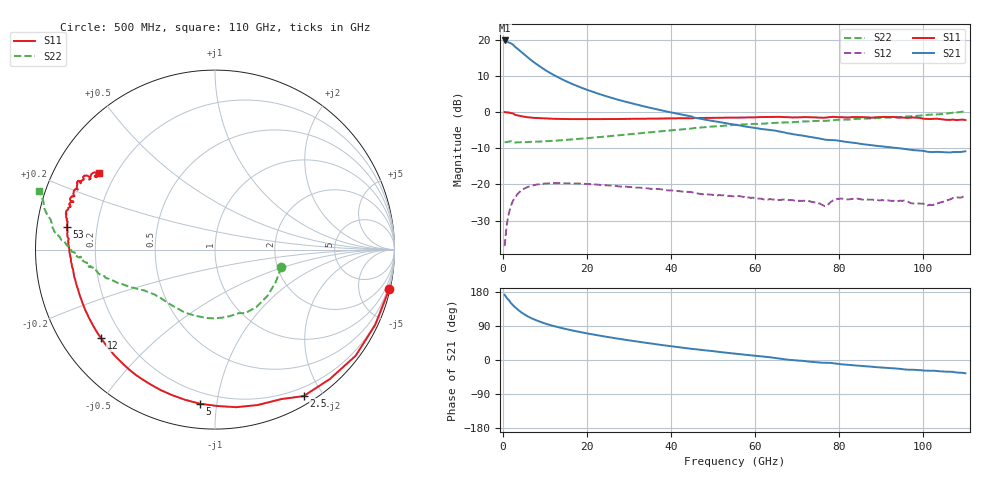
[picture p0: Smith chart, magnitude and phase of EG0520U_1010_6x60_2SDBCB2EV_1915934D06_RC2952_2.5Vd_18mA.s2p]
!File name = EG0520U_1010_6x60_2SDBCB2EV_1915934D06_RC2952_2.5Vd_18mA.s2p
!Base file name = EG0520U_1010_6x60_2SDBCB2EV_1915934D06_RC2952
!Date = 8/23/2019
!Time = 1:13 PM
!Test duration(min) = 0.15
!Test = S-Parameters
!MPTS version = 8.91.5
!State File = C:\Data\PNA\20190821205423\S-Parameters_2019-08-23.sta
!Cal File =
!ComputerName = CMPE-LAB-6
!Comments =
!Attenuation = 0
!Z0 = 50
!Input Power(dBm) = -13.00
!Device ID = EG0520U_1010_6x60_2SDBCB2EV
!Row = 29
!Column = 52
!Technology = QPHT09
!Lot/Wafer = 1915934D06
!Gate Size = 360
!Mask = EG0520
!Cal Standards = GaAs BCB
!Cal Kit = EG2306
!Job Number = 20190821205423
!Device Type = FET
!set_Vg(v) = -1.500
!set_Vd(v) = 2.500
!set_Vd(mA) = 18.000
!file_name = EG0520U_1010_6x60_2SDBCB2EV_1915934D06_RC2952_2.5Vd_18mA.s2p
!Vd(V) = 2.500
!Vd(mA) = 17.938
!Vg(V) = -0.592
!Vg(mA) = -0.002
# GHz  S  DB  R  50
!%	Freq(GHz)  s11(dB)  s11(deg)  s21(dB)  s21(deg)  s12(dB)  s12(deg)  s22(dB)  s22(deg)
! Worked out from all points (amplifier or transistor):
!   220 points, 500 MHz to 110 GHz, reference 50 ohm
!   highest |S21| = 19.8 dB at 500 MHz (marker M1)
!   |S21| within 3 dB of that: start of sweep to 4.273 GHz
!   unconditionally stable (mu >= 1): 38.78 GHz to 102.9 GHz
!   at 18.5 GHz: K = 0.46, MSG = 13.3 dB, |S12| = -19.8 dB
!   at 55.5 GHz: K = 1.32, MAG = 6.5 dB, |S12| = -23.2 dB
!   at 110 GHz: K = -1.43, MSG = 6.2 dB, |S12| = -23.2 dB
!   S11 on the Smith chart (normalised r, x): 500 MHz: 0.18, -8.99; 2.5 GHz: 0.10, -1.77; 5 GHz: 0.13, -0.90; 12 GHz: 0.12, -0.34; 53 GHz: 0.09, +0.08; 110 GHz: 0.14, +0.29
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0.5  -0.04 -12.7  19.76 172.2  -37.08 81.8  -8.35 -14.6
1  -0.12 -25.2  19.47 164.0  -31.26 75.0  -8.32 -28.1
2  -0.32 -48.3  18.96 150.4  -25.94 61.5  -8.08 -54.1
2.5  -0.41 -58.8  18.61 144.4  -24.51 56.0  -8.13 -64.6
3  -0.81 -66.2  17.98 139.2  -23.63 51.7  -8.44 -69.2
3.5  -0.94 -74.8  17.53 134.2  -22.80 47.2  -8.41 -77.3
4.5  -1.20 -89.3  16.52 125.5  -21.67 39.5  -8.33 -91.1
5  -1.28 -95.5  16.03 121.8  -21.28 36.3  -8.32 -96.8
6  -1.46 -106.4  15.07 115.1  -20.73 30.9  -8.30 -106.3
7.5  -1.63 -119.0  13.70 107.1  -20.22 24.4  -8.22 -116.8
9.5  -1.78 -131.1  12.08 98.6  -19.84 18.0  -8.14 -126.0
12  -1.89 -142.2  10.32 90.2  -19.68 12.0  -7.99 -133.9
15  -1.95 -151.4  8.55 81.9  -19.70 6.8  -7.75 -140.2
19  -1.99 -160.1  6.59 72.5  -19.84 1.4  -7.35 -145.4
27  -1.95 -171.0  3.53 57.1  -20.42 -5.6  -6.49 -152.0
37  -1.81 -179.2  0.65 40.7  -21.29 -10.3  -5.41 -158.1
53  -1.58 171.3  -3.10 19.4  -23.10 -14.1  -3.78 -167.2
55.5  -1.56 169.9  -3.56 16.5  -23.25 -15.0  -3.55 -168.6
73.5  -1.48 161.8  -6.98 -4.9  -24.84 -19.7  -2.50 -176.0
92  -1.42 153.3  -9.75 -21.3  -24.50 -27.5  -1.53 177.2
101  -1.91 150.9  -11.00 -28.3  -25.82 -29.9  -0.81 172.5
110  -2.24 146.6  -10.86 -34.9  -23.19 -28.3  0.27 161.7
